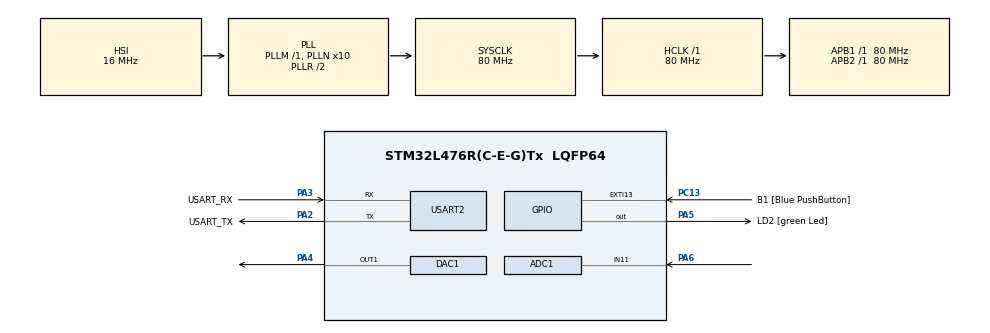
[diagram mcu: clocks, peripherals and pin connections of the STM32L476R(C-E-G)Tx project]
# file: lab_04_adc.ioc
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ADC1.Channel-1\#ChannelRegularConversion=ADC_CHANNEL_11
ADC1.NbrOfConversionFlag=1
ADC1.OffsetNumber-1\#ChannelRegularConversion=ADC_OFFSET_NONE
ADC1.Rank-1\#ChannelRegularConversion=1
ADC1.SamplingTime-1\#ChannelRegularConversion=ADC_SAMPLETIME_2CYCLES_5
ADC1.master=1
Mcu.Family=STM32L4
Mcu.Name=STM32L476R(C-E-G)Tx
Mcu.Package=LQFP64
NVIC.ADC1_2_IRQn=true\:0\:0\:false\:false\:true\:true\:true\:true
NVIC.EXTI15_10_IRQn=true\:0\:0\:false\:false\:true\:true\:true\:true
NVIC.PriorityGroup=NVIC_PRIORITYGROUP_4
NVIC.TIM6_DAC_IRQn=true\:0\:0\:false\:false\:true\:true\:true\:true
PA13\ (JTMS-SWDIO).GPIO_Label=TMS
PA13\ (JTMS-SWDIO).Mode=Serial_Wire
PA13\ (JTMS-SWDIO).Signal=SYS_JTMS-SWDIO
PA14\ (JTCK-SWCLK).GPIO_Label=TCK
PA14\ (JTCK-SWCLK).Mode=Serial_Wire
PA14\ (JTCK-SWCLK).Signal=SYS_JTCK-SWCLK
PA2.GPIO_Label=USART_TX
PA2.GPIO_Mode=GPIO_MODE_AF_PP
PA2.GPIO_PuPd=GPIO_NOPULL
PA2.GPIO_Speed=GPIO_SPEED_FREQ_VERY_HIGH
PA2.Mode=Asynchronous
PA2.Signal=USART2_TX
PA3.GPIO_Label=USART_RX
PA3.GPIO_Mode=GPIO_MODE_AF_PP
PA3.GPIO_PuPd=GPIO_NOPULL
PA3.GPIO_Speed=GPIO_SPEED_FREQ_VERY_HIGH
PA3.Mode=Asynchronous
PA3.Signal=USART2_RX
PA4.Signal=COMP_DAC11_group
PA5.GPIO_Label=LD2 [green Led]
PA5.GPIO_ModeDefaultOutputPP=GPIO_MODE_OUTPUT_PP
PA5.GPIO_PuPd=GPIO_NOPULL
PA5.GPIO_Speed=GPIO_SPEED_FREQ_LOW
PA5.Signal=GPIO_Output
PA6.Signal=ADCx_IN11
PB3\ (JTDO-TRACESWO).GPIO_Label=SWO
PB3\ (JTDO-TRACESWO).Signal=SYS_JTDO-SWO
PC13.GPIO_Label=B1 [Blue PushButton]
PC13.GPIO_ModeDefaultEXTI=GPIO_MODE_IT_FALLING
PC13.GPIO_PuPd=GPIO_NOPULL
PC13.Signal=GPXTI13
PC14-OSC32_IN\ (PC14).Mode=LSE-External-Oscillator
PC14-OSC32_IN\ (PC14).Signal=RCC_OSC32_IN
PC15-OSC32_OUT\ (PC15).Mode=LSE-External-Oscillator
PC15-OSC32_OUT\ (PC15).Signal=RCC_OSC32_OUT
PH0-OSC_IN\ (PH0).Signal=RCC_OSC_IN
PH1-OSC_OUT\ (PH1).Signal=RCC_OSC_OUT
ProjectManager.HeapSize=0x200
ProjectManager.StackSize=0x400
ProjectManager.TargetToolchain=CMake
RCC.ADCFreq_Value=64000000
RCC.AHBFreq_Value=80000000
RCC.APB1Freq_Value=80000000
RCC.APB1TimFreq_Value=80000000
RCC.APB2Freq_Value=80000000
RCC.APB2TimFreq_Value=80000000
RCC.CortexFreq_Value=80000000
RCC.HCLKFreq_Value=80000000
RCC.HSE_VALUE=8000000
RCC.HSI_VALUE=16000000
RCC.MSI_VALUE=4000000
RCC.PLLN=10
RCC.PLLSourceVirtual=RCC_PLLSOURCE_HSI
RCC.PREFETCH_ENABLE=1
RCC.SYSCLKFreq_VALUE=80000000
RCC.SYSCLKSource=RCC_SYSCLKSOURCE_PLLCLK
RCC.USBFreq_Value=64000000
RCC.VCOOutputFreq_Value=160000000
SH.ADCx_IN11.0=ADC1_IN11,IN11-Single-Ended
SH.COMP_DAC11_group.0=DAC1_OUT1,DAC_OUT1
USART2.VirtualMode-Asynchronous=VM_ASYNC
board=NUCLEO-L476RG

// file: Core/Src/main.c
/* USER CODE BEGIN Header */
/**
 ******************************************************************************
 * @file           : main.c
 * @brief          : Main program body
 ******************************************************************************
 * @attention
 *
 * Copyright (c) 2025 STMicroelectronics.
 * All rights reserved.
 *
 * This software is licensed under terms that can be found in the LICENSE file
 * in the root directory of this software component.
 * If no LICENSE file comes with this software, it is provided AS-IS.
 *
 ******************************************************************************
 */
/* USER CODE END Header */
#include "main.h"
#include "adc.h"
#include "dac.h"
#include "usart.h"
#include "gpio.h"

/* USER CODE BEGIN Includes */
#include <stdio.h>
/* USER CODE END Includes */

/* USER CODE BEGIN PV */

uint16_t adc_value = 0;
uint8_t adc_flag = 0;
uint16_t dac_value = 0;
uint8_t voltage_index = 0;

// Zadane napięcia w woltach
const float target_voltages[] = {0.5f, 1.5f, 1.7f, 2.5f, 3.3f};
const uint8_t num_voltages = sizeof(target_voltages) / sizeof(target_voltages[0]);

/* USER CODE END PV */

void SystemClock_Config(void);

/* USER CODE BEGIN 0 */

int _write(int file, char *ptr, int len)
{
  HAL_UART_Transmit(&huart2, (uint8_t *)ptr, len, HAL_MAX_DELAY);
  return len;
}

// Konwersja napięcia na wartość surową dla DAC
uint16_t voltage_to_dac(float voltage)
{
  return (uint16_t)((voltage * 4095.0f) / 3.3f);
}

// Konwersja wartości surowej DAC na napięcie
float dac_to_voltage(uint16_t dac_val)
{
  return (float)dac_val * (3.3f / 4095.0f);
}

void HAL_ADC_ConvCpltCallback(ADC_HandleTypeDef *hadc)
{
  if (hadc->Instance == ADC1)
  {
    adc_value = HAL_ADC_GetValue(hadc);
    adc_flag = 1;
  }
}

/* USER CODE END 0 */

int main(void)
{

  /* MCU Configuration--------------------------------------------------------*/

  /* Reset of all peripherals, Initializes the Flash interface and the Systick. */
  HAL_Init();

  /* Configure the system clock */
  SystemClock_Config();

  /* Initialize all configured peripherals */
  MX_GPIO_Init();
  MX_ADC1_Init();
  MX_USART2_UART_Init();
  MX_DAC1_Init();
  /* USER CODE BEGIN 2 */

  /* USER CODE BEGIN 2 */

  dac_value = voltage_to_dac(target_voltages[0]);
  HAL_DAC_SetValue(&hdac1, DAC_CHANNEL_1, DAC_ALIGN_12B_R, dac_value);
  HAL_DAC_Start(&hdac1, DAC_CHANNEL_1);

  HAL_ADC_Start_IT(&hadc1);

  /* USER CODE END 2 */

  /* Infinite loop */
  /* USER CODE BEGIN WHILE */
  while (1)
  {

    if (adc_flag == 1)
    {
      // Obliczanie napięcia
      float dac_voltage = target_voltages[voltage_index];
      float adc_voltage = (float)adc_value * (3.3f / 4095.0f);

      // Format wartości float
      char voltage_str[20];
      snprintf(voltage_str, sizeof(voltage_str), "%.2f", dac_voltage);
      char adc_voltage_str[20];
      snprintf(adc_voltage_str, sizeof(adc_voltage_str), "%.2f", adc_voltage);

      // Format: nr indeksu;surową wartość DAC;DAC wyrażone w Voltach;surowa wartość ADC;pomiar ADC wyrażony w Voltach
      printf("275417;%d;%s;%d;%s\r\n", dac_value, voltage_str, adc_value, adc_voltage_str);

      // Następna wartość napięcia
      voltage_index = (voltage_index + 1) % num_voltages;
      dac_value = voltage_to_dac(target_voltages[voltage_index]);
      HAL_DAC_SetValue(&hdac1, DAC_CHANNEL_1, DAC_ALIGN_12B_R, dac_value);

      adc_flag = 0;
      HAL_ADC_Start_IT(&hadc1);
    }

    HAL_Delay(1000);

    /* USER CODE END WHILE */

  }
}

void SystemClock_Config(void)
{
  RCC_OscInitTypeDef RCC_OscInitStruct = {0};
  RCC_ClkInitTypeDef RCC_ClkInitStruct = {0};

  /** Configure the main internal regulator output voltage
   */
  if (HAL_PWREx_ControlVoltageScaling(PWR_REGULATOR_VOLTAGE_SCALE1) != HAL_OK)
  {
    Error_Handler();
  }

  /** Initializes the RCC Oscillators according to the specified parameters
   * in the RCC_OscInitTypeDef structure.
   */
  RCC_OscInitStruct.OscillatorType = RCC_OSCILLATORTYPE_HSI;
  RCC_OscInitStruct.HSIState = RCC_HSI_ON;
  RCC_OscInitStruct.HSICalibrationValue = RCC_HSICALIBRATION_DEFAULT;
  RCC_OscInitStruct.PLL.PLLState = RCC_PLL_ON;
  RCC_OscInitStruct.PLL.PLLSource = RCC_PLLSOURCE_HSI;
  RCC_OscInitStruct.PLL.PLLM = 1;
  RCC_OscInitStruct.PLL.PLLN = 10;
  RCC_OscInitStruct.PLL.PLLP = RCC_PLLP_DIV7;
  RCC_OscInitStruct.PLL.PLLQ = RCC_PLLQ_DIV2;
  RCC_OscInitStruct.PLL.PLLR = RCC_PLLR_DIV2;
  if (HAL_RCC_OscConfig(&RCC_OscInitStruct) != HAL_OK)
  {
    Error_Handler();
  }

  /** Initializes the CPU, AHB and APB buses clocks
   */
  RCC_ClkInitStruct.ClockType = RCC_CLOCKTYPE_HCLK | RCC_CLOCKTYPE_SYSCLK | RCC_CLOCKTYPE_PCLK1 | RCC_CLOCKTYPE_PCLK2;
  RCC_ClkInitStruct.SYSCLKSource = RCC_SYSCLKSOURCE_PLLCLK;
  RCC_ClkInitStruct.AHBCLKDivider = RCC_SYSCLK_DIV1;
  RCC_ClkInitStruct.APB1CLKDivider = RCC_HCLK_DIV1;
  RCC_ClkInitStruct.APB2CLKDivider = RCC_HCLK_DIV1;

  if (HAL_RCC_ClockConfig(&RCC_ClkInitStruct, FLASH_LATENCY_4) != HAL_OK)
  {
    Error_Handler();
  }
}

void Error_Handler(void)
{
  __disable_irq();
  while (1)
  {
  }
}
